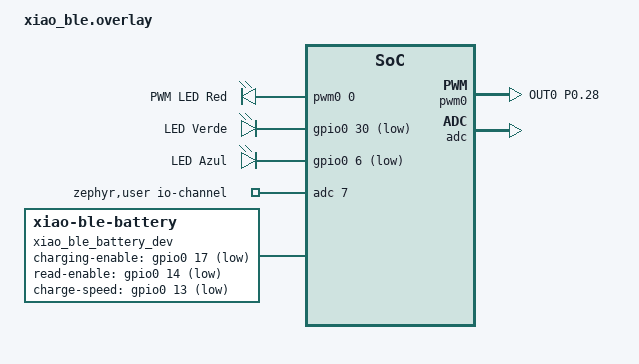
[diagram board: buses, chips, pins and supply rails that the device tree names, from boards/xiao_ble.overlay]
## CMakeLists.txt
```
#
# Copyright (c) 2018 Nordic Semiconductor
#
# SPDX-License-Identifier: LicenseRef-Nordic-5-Clause
#
cmake_minimum_required(VERSION 3.20.0)

find_package(Zephyr REQUIRED HINTS $ENV{ZEPHYR_BASE})
project(NONE)

# NORDIC SDK APP START
target_sources(app PRIVATE
  src/main.c
  src/hal/buzzer.c
  src/hal/battery.c
  src/hal/ble.c
  src/gatt/buzzer_service.c
  src/gatt/battery_service.c
  src/test/energy_test.c
)

zephyr_library_include_directories(
  include
  include/hal
  include/gatt
  include/test
)
# NORDIC SDK APP END
```

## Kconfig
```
#
# Copyright (c) 2025
# SPDX-License-Identifier: LicenseRef-Nordic-5-Clause
#

mainmenu "Amigo Perto Application Configuration"

config ENERGY_TEST
	bool "Enable Energy Consumption Test Module"
	default y
	help
	  Enable the energy consumption test module that measures
	  current draw using a shunt resistor and differential ADC.
	  This module can be removed after testing by setting this to 'n'.

source "Kconfig.zephyr"
```

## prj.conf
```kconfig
#
# Copyright (c) 2018 Nordic Semiconductor
#
# SPDX-License-Identifier: LicenseRef-Nordic-5-Clause
#

# Logger module
CONFIG_LOG=y

# Button and LED library
CONFIG_DK_LIBRARY=y

# Bluetooth LE
CONFIG_BT=y

CONFIG_BT_PERIPHERAL=y
CONFIG_BT_DEVICE_NAME="Amigo Perto"

# Increase stack size for the main thread and System Workqueue
CONFIG_SYSTEM_WORKQUEUE_STACK_SIZE=2048
CONFIG_MAIN_STACK_SIZE=2048

# GPIO (LEDs)
CONFIG_GPIO=y

# PWM Support
CONFIG_PWM=y

# ADC Support for battery monitoring
CONFIG_ADC=y
CONFIG_ADC_NRFX_SAADC=y

# Power Management for Low Energy (nRF52840)
CONFIG_PM=y
CONFIG_PM_DEVICE=y

# Tickless reduz wakeups do kernel em idle (mais relevante que ajustar ticks/seg no nRF)
CONFIG_TICKLESS_KERNEL=y

# Enable DCDC converter via devicetree (reduz consumo em ~40% no nRF52840)
# Note: CONFIG_SOC_DCDC_NRF52X is set automatically via devicetree overlay
# CONFIG_SOC_DCDC_NRF52X=y

# Reduce BLE TX power to 0 dBm (minimo consumo)
# Note: Use CONFIG_BT_CTLR_TX_PWR_MINUS_X for negative values if needed
# CONFIG_BT_CTLR_TX_PWR_0=y
```

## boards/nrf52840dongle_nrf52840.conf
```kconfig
# USB stack and CDC ACM settings
CONFIG_USB_DEVICE_STACK=y
CONFIG_USB_DEVICE_REMOTE_WAKEUP=n
CONFIG_USB_CDC_ACM=y
CONFIG_USB_DEVICE_MANUFACTURER="Nordic Semiconductor ASA"
CONFIG_USB_DEVICE_PRODUCT="nRF52840 Dongle"
CONFIG_USB_DEVICE_VID=0x1915
CONFIG_USB_DEVICE_PID=0x0001
CONFIG_USB_DEVICE_INITIALIZE_AT_BOOT=y
CONFIG_USB_DEVICE_LOG_LEVEL_OFF=y
CONFIG_USB_CDC_ACM_LOG_LEVEL_OFF=y
CONFIG_USB_CDC_ACM_RINGBUF_SIZE=2048

# Console settings
CONFIG_CONSOLE=y
CONFIG_SERIAL=y
CONFIG_UART_CONSOLE=y
CONFIG_UART_INTERRUPT_DRIVEN=y

# Logger settings
CONFIG_LOG=y
CONFIG_LOG_BACKEND_UART=y
CONFIG_LOG_MODE_DEFERRED=y

# ADC Configuration for battery monitoring
CONFIG_ADC=y
CONFIG_ADC_NRFX_SAADC=y
```

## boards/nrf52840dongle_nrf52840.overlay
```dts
/*
 * Copyright (c) 2021 Nordic Semiconductor ASA
 *
 * SPDX-License-Identifier: LicenseRef-Nordic-5-Clause
 */

/ {
	chosen {
		zephyr,console = &cdc_acm_uart0;
	};

	/* Configuração para leitura de bateria via ADC */
	zephyr,user {
		io-channels = <&adc 0>;
	};
};

&zephyr_udc0 {
	cdc_acm_uart0: cdc_acm_uart0 {
		compatible = "zephyr,cdc-acm-uart";
	};
};

/* Habilita ADC para leitura de bateria */
&adc {
	status = "okay";
	#address-cells = <1>;
	#size-cells = <0>;

	channel@0 {
		reg = <0>;
		zephyr,gain = "ADC_GAIN_1_6";
		zephyr,reference = "ADC_REF_INTERNAL";
		zephyr,acquisition-time = <ADC_ACQ_TIME(ADC_ACQ_TIME_MICROSECONDS, 10)>;
		zephyr,input-positive = <NRF_SAADC_VDD>;
		zephyr,resolution = <12>;
	};
};
```

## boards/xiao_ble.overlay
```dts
/*
 * Copyright (c) 2024 Nordic Semiconductor ASA
 *
 * SPDX-License-Identifier: Apache-2.0
 */

/ {
	aliases {
		pwm-led0 = &pwm_led0;
		ledverde = &led_verde;
		ledazul = &led_azul;
	};

	pwmleds {
		compatible = "pwm-leds";
		pwm_led0: pwm_led_0 {
			pwms = <&pwm0 0 PWM_MSEC(20) PWM_POLARITY_NORMAL>;
			label = "PWM LED Red";
		};
	};

	leds {
		compatible = "gpio-leds";
		led_verde: led_verde {
			gpios = <&gpio0 30 GPIO_ACTIVE_LOW>;
			label = "LED Verde";
		};
		led_azul: led_azul {
			gpios = <&gpio0 6 GPIO_ACTIVE_LOW>;
			label = "LED Azul";
		};
	};

	/* Configuração para leitura de bateria via ADC - Canal 7 (AIN7/P0.31) */
	zephyr,user {
		io-channels = <&adc 7>;
	};

	xiao_ble_battery_dev: xiao_ble_battery_dev {
		compatible = "xiao-ble-battery";
		charging-enable-gpios = <&gpio0 17 GPIO_ACTIVE_LOW>;
		read-enable-gpios = <&gpio0 14 GPIO_ACTIVE_LOW>;
		charge-speed-gpios = <&gpio0 13 GPIO_ACTIVE_LOW>;
		adc-channel = <NRF_SAADC_AIN7>;
	};
};

&pwm0 {
	status = "okay";
	pinctrl-0 = <&pwm0_default>;
	pinctrl-1 = <&pwm0_sleep>;
	pinctrl-names = "default", "sleep";
};

&pinctrl {
	pwm0_default: pwm0_default {
		group1 {
			psels = <NRF_PSEL(PWM_OUT0, 0, 28)>;
			//nordic,invert;
		};
	};

	pwm0_sleep: pwm0_sleep {
		group1 {
			psels = <NRF_PSEL(PWM_OUT0, 0, 28)>;
			low-power-enable;
		};
	};
};

/* Habilita ADC para leitura de bateria */
&adc {
	status = "okay";
};
```

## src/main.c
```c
/*
 * Amigo Perto - Sistema de Alerta de Proximidade
 * Copyright (c) 2025
 * SPDX-License-Identifier: LicenseRef-Nordic-5-Clause
 *
 * Aplicação principal do firmware que implementa um sistema de alerta de proximidade
 * controlado remotamente via Bluetooth Low Energy.
 *
 * Hardware:
 * - XIAO nRF52840 (Nordic nRF52840)
 * - Buzzer piezoelétrico (PWM)
 * - Bateria LiPo 1S (3.0V-4.2V)
 * - LED Verde (conexão BLE)
 * - LED Azul (advertising)
 *
 * Funcionalidades:
 * - BLE advertising para descoberta do dispositivo
 * - Serviço GATT Buzzer customizado para controle remoto do alarme
 * - Serviço GATT Battery padrão (0x180F) para monitoramento de bateria
 * - LEDs de status para feedback visual
 * - HAL modular para abstração de hardware
 *
 * Arquitetura:
 * - src/main.c         : Aplicação principal (este arquivo)
 * - src/hal/           : Hardware Abstraction Layer (BLE, Buzzer, Battery)
 * - src/gatt/          : Serviços GATT BLE
 * - include/hal/       : APIs públicas HAL
 * - include/gatt/      : APIs públicas GATT
 */

// === INCLUDES DO ZEPHYR RTOS ===
#include <zephyr/kernel.h>         // Kernel: threads, timers, delays
#include <zephyr/logging/log.h>    // Sistema de logging
#include <zephyr/drivers/gpio.h>   // Controle de GPIO para LEDs

// === HARDWARE ABSTRACTION LAYER ===
#include "hal/ble.h"        // HAL BLE: advertising, conexões
#include "hal/buzzer.h"     // HAL Buzzer: controle PWM do alarme
#include "hal/battery.h"    // Battery lib: init, amostragem, callbacks

// === SERVIÇOS GATT ===
#include "gatt/buzzer_service.h"   // Serviço GATT customizado do buzzer
#include "gatt/battery_service.h"  // Battery Service padrão (0x180F)

// Registra módulo de logging
LOG_MODULE_REGISTER(MainApp, LOG_LEVEL_INF);

// === CONFIGURAÇÕES ===

// Nome do dispositivo BLE (definido em prj.conf via CONFIG_BT_DEVICE_NAME)
#define DEVICE_NAME CONFIG_BT_DEVICE_NAME

// === CONFIGURAÇÕES DE ECONOMIA DE ENERGIA ===

// Duty-cycle dos LEDs: 50ms ON / 1950ms OFF = 2.5% (economiza ~97.5% de energia)
#define LED_BLINK_ON_MS   50
#define LED_BLINK_OFF_MS  1950

// Intervalo de advertising BLE em milissegundos
// 1000ms = bom balanço entre descoberta e economia de bateria
#define ADV_INTERVAL_MS 1000

// Threshold de bateria crítica (percentual)
// Abaixo deste valor, um warning é exibido
#define BATTERY_CRITICAL_THRESHOLD 10

// Intervalo de amostragem da bateria (ms)
#define BATTERY_SAMPLING_INTERVAL_MS 1000

// === CONFIGURAÇÃO DOS LEDS ===

// LED Verde: indica conexão BLE ativa
// Hardware: GPIO configurado via devicetree alias 'ledverde'
#define LED_VERDE_NODE DT_ALIAS(ledverde)
#if DT_NODE_HAS_STATUS(LED_VERDE_NODE, okay)
static const struct gpio_dt_spec led_verde = GPIO_DT_SPEC_GET(LED_VERDE_NODE, gpios);
#else
#error "LED verde não configurado no devicetree (alias 'ledverde' ausente)"
#endif

// LED Azul: indica advertising BLE ativo
// Hardware: GPIO configurado via devicetree alias 'ledazul'
#define LED_AZUL_NODE DT_ALIAS(ledazul)
#if DT_NODE_HAS_STATUS(LED_AZUL_NODE, okay)
static const struct gpio_dt_spec led_azul = GPIO_DT_SPEC_GET(LED_AZUL_NODE, gpios);
#else
#error "LED azul não configurado no devicetree (alias 'ledazul' ausente)"
#endif

// === TIMERS PARA PISCAR LEDS COM BAIXO CONSUMO ===
static struct k_timer led_azul_timer;
static struct k_timer led_verde_timer;
static bool led_azul_ativo = false;
static bool led_verde_ativo = false;

/**
 * Handler do timer do LED azul (advertising)
 * Alterna estado ON/OFF com duty-cycle de 2.5%
 */
static void led_azul_timer_handler(struct k_timer *timer)
{
	// Alterna estado
	led_azul_ativo = !led_azul_ativo;
	gpio_pin_set_dt(&led_azul, led_azul_ativo ? 1 : 0);
	
	// Próximo timeout: curto se aceso, longo se apagado
	k_timer_start(&led_azul_timer, 
	              K_MSEC(led_azul_ativo ? LED_BLINK_ON_MS : LED_BLINK_OFF_MS), 
	              K_NO_WAIT);
}

/**
 * Handler do timer do LED verde (conectado)
 * Alterna estado ON/OFF com duty-cycle de 2.5%
 */
static void led_verde_timer_handler(struct k_timer *timer)
{
	// Alterna estado
	led_verde_ativo = !led_verde_ativo;
	gpio_pin_set_dt(&led_verde, led_verde_ativo ? 1 : 0);
	
	// Próximo timeout: curto se aceso, longo se apagado
	k_timer_start(&led_verde_timer, 
	              K_MSEC(led_verde_ativo ? LED_BLINK_ON_MS : LED_BLINK_OFF_MS), 
	              K_NO_WAIT);
}

// === CALLBACKS BLE ===
// Funções chamadas pelo HAL BLE para notificar eventos de conexão

/**
 * Callback: Dispositivo conectado via BLE
 *
 * Chamado quando um dispositivo central (ex: smartphone) estabelece conexão.
 * Atualiza LEDs de status e exibe parâmetros de conexão negociados.
 *
 * @param conn_info Informações da conexão (intervalo, latência, timeout)
 */
static void on_ble_connected(const hal_ble_conn_info_t *conn_info)
{
	LOG_INF("=== BLE CONECTADO ===");
	LOG_INF("Intervalo: %u ms", conn_info->interval_ms);
	LOG_INF("Latência: %u conexões", conn_info->latency);
	LOG_INF("Timeout: %u ms", conn_info->timeout_ms);
	
	// Para timer do LED azul e apaga
	k_timer_stop(&led_azul_timer);
	gpio_pin_set_dt(&led_azul, 0);
	led_azul_ativo = false;
	
	// Inicia timer do LED verde (piscar lento)
	led_verde_ativo = false;
	k_timer_start(&led_verde_timer, K_MSEC(LED_BLINK_OFF_MS), K_NO_WAIT);
}

/**
 * Callback: Dispositivo desconectado
 *
 * Chamado quando a conexão BLE é encerrada (timeout, comando remoto, etc).
 * Desliga o buzzer (segurança) e atualiza status dos LEDs.
 *
 * @param reason Código HCI do motivo da desconexão
 */
static void on_ble_disconnected(uint8_t reason)
{
	LOG_INF("=== BLE DESCONECTADO ===");
	LOG_INF("Motivo: 0x%02X", reason);
	
	// Segurança: desliga buzzer ao desconectar
	hal_buzzer_set_intermittent(false, 0);
	
	// Para timer do LED verde e apaga
	k_timer_stop(&led_verde_timer);
	gpio_pin_set_dt(&led_verde, 0);
	led_verde_ativo = false;
	
	// Reinicia timer do LED azul (piscar lento)
	led_azul_ativo = false;
	k_timer_start(&led_azul_timer, K_MSEC(LED_BLINK_OFF_MS), K_NO_WAIT);
}

/**
 * Callback: Advertising iniciado
 *
 * Chamado quando o dispositivo começa a anunciar sua presença.
 * Dispositivos BLE podem descobrir e conectar neste estado.
 */
static void on_ble_adv_started(void)
{
	LOG_INF("BLE Advertising iniciado (modo baixo consumo)");
	
	// Inicia timer do LED azul (piscar lento)
	led_azul_ativo = false;
	k_timer_start(&led_azul_timer, K_MSEC(LED_BLINK_OFF_MS), K_NO_WAIT);
}

/**
 * Callback: Advertising parado
 *
 * Chamado quando advertising é interrompido (conexão estabelecida ou erro).
 */
static void on_ble_adv_stopped(void)
{
	LOG_DBG("BLE Advertising parado");
	
	// Para timer do LED azul e apaga
	k_timer_stop(&led_azul_timer);
	gpio_pin_set_dt(&led_azul, 0);
	led_azul_ativo = false;
}

// Registra callbacks BLE no HAL
static const hal_ble_callbacks_t ble_callbacks = {
	.connected = on_ble_connected,
	.disconnected = on_ble_disconnected,
	.adv_started = on_ble_adv_started,
	.adv_stopped = on_ble_adv_stopped,
};

// === CALLBACKS GATT BUZZER SERVICE ===
// Funções chamadas quando características GATT são escritas remotamente

/**
 * Callback: Característica Buzzer Intermitente escrita via BLE
 *
 * Chamado quando o dispositivo central (smartphone) escreve na característica
 * Buzzer Intermittent do serviço GATT customizado.
 *
 * Controla o modo intermitente do alarme com intensidade média.
 *
 * @param buzzer_state true=ativar alarme intermitente, false=desligar
 */
static void on_buzzer_intermittent_write(const bool buzzer_state)
{
	LOG_INF("=== COMANDO BUZZER ===");
	LOG_INF("Estado: %s", buzzer_state ? "ATIVADO" : "DESATIVADO");
	
	// Controla o buzzer através do HAL com intensidade média (30%, otimizado para baixo consumo)
	// Frequência: 18 kHz (audível para cachorros, quase inaudível para humanos)
	// Padrão burst: 20ms ON / 80ms OFF (reduz consumo em ~75%)
	int err = hal_buzzer_set_intermittent(buzzer_state, HAL_BUZZER_INTENSITY_MEDIUM);
	if (err != HAL_BUZZER_SUCCESS) 
	{
		LOG_ERR("Erro ao controlar buzzer: %d", err);
	}
}

// Registra callbacks Buzzer Service
static const struct gatt_buzzer_service_cb buzzer_callbacks = {
	.buzzer_intermittent_cb = on_buzzer_intermittent_write,
};

// === CALLBACKS GATT BATTERY SERVICE ===
// O serviço GATT de bateria lê os valores on-demand via battery_get_millivolt().
// Aqui registramos callbacks da *biblioteca* de bateria só para logging/debug.

static void log_battery_voltage(uint16_t millivolt)
{
	uint8_t battery_percentage = 0;

	int ret = battery_get_percentage(&battery_percentage, millivolt);
	if (ret)
	{
		LOG_ERR("Falha ao calcular percentual de bateria (%d)", ret);
		return;
	}

	LOG_INF("Battery: %u mV (%u%%)", millivolt, battery_percentage);
	if (battery_percentage < BATTERY_CRITICAL_THRESHOLD)
	{
		LOG_WRN("ATENÇÃO: Bateria crítica! (%u%%) - Recarregue em breve", battery_percentage);
	}
}

static void log_charging_state(bool is_charging)
{
	LOG_INF("Charger %s", is_charging ? "connected" : "disconnected");
}

// === FUNÇÃO PRINCIPAL ===

/**
 * Função principal do firmware
 *
 * Sequência de inicialização:
 * 1. LEDs de status (verde e azul)
 * 2. HAL Buzzer (controle PWM do alarme)
 * 3. HAL Battery (leitura ADC da bateria LiPo)
 * 4. HAL BLE (stack Bluetooth)
 * 5. Serviços GATT (Buzzer e Battery)
 * 6. Inicia advertising BLE
 * 7. Loop infinito aguardando eventos via callbacks
 *
 * @return 0 em caso de sucesso, -1 em caso de erro
 */
int main(void)
{
	int err;
	bool battery_ok = false;

	LOG_INF("=============================================");
	LOG_INF("   Amigo Perto - Alerta de Proximidade");
	LOG_INF("   Modo: Ultra Baixo Consumo");
	LOG_INF("=============================================");
	LOG_INF("");

	// === ETAPA 1: Inicialização dos LEDs ===
	
	LOG_INF("[1/6] Inicializando LEDs (modo economia)...");
	
	// Verifica se GPIOs estão prontos
	if (!gpio_is_ready_dt(&led_verde)) 
	{
		LOG_ERR("GPIO LED verde não está pronto");
		return -1;
	}
	
	if (!gpio_is_ready_dt(&led_azul)) 
	{
		LOG_ERR("GPIO LED azul não está pronto");
		return -1;
	}

	// Configura LEDs como saída, inicialmente desligados
	err = gpio_pin_configure_dt(&led_verde, GPIO_OUTPUT_INACTIVE);
	if (err) 
	{
		LOG_ERR("Erro ao configurar LED verde: %d", err);
		return -1;
	}
	
	err = gpio_pin_configure_dt(&led_azul, GPIO_OUTPUT_INACTIVE);
	if (err) 
	{
		LOG_ERR("Erro ao configurar LED azul: %d", err);
		return -1;
	}

	// Inicializa timers dos LEDs
	k_timer_init(&led_azul_timer, led_azul_timer_handler, NULL);
	k_timer_init(&led_verde_timer, led_verde_timer_handler, NULL);

	LOG_INF("LEDs configurados (duty-cycle: 2.5%%)");
	LOG_INF("");

	// === ETAPA 2: Inicialização do Buzzer ===
	
	LOG_INF("[2/6] Inicializando HAL Buzzer...");
	
	err = hal_buzzer_init();
	if (err != HAL_BUZZER_SUCCESS) 
	{
		LOG_ERR("Erro ao inicializar HAL Buzzer: %d", err);
		return -1;
	}

	LOG_INF("HAL Buzzer inicializado");
	LOG_INF("");
	
	// === ETAPA 3: Inicialização do BLE ===
	
	LOG_INF("[3/6] Inicializando HAL BLE...");
	
	err = hal_ble_init(DEVICE_NAME, &ble_callbacks);
	if (err != HAL_BLE_SUCCESS) 
	{
		LOG_ERR("Erro ao inicializar HAL BLE: %d", err);
		return -1;
	}

	LOG_INF("HAL BLE inicializado - Device: %s", DEVICE_NAME);
	LOG_INF("");
	
	// === ETAPA 4: Inicialização dos Serviços GATT ===
	
	LOG_INF("[4/6] Inicializando serviços GATT...");
	
	// Serviço customizado: Buzzer Service
	err = gatt_buzzer_service_init(&buzzer_callbacks);
	if (err != 0) 
	{
		LOG_ERR("Erro ao inicializar GATT Buzzer Service: %d", err);
		return -1;
	}
	LOG_INF("  - Buzzer Service (customizado)");
	
	// Serviço padrão: Battery Service (UUID 0x180F)
	err = battery_service_init();
	if (err != 0)
	{
		// Best-effort: BLE deve continuar mesmo que a bateria/ADC não esteja pronto
		LOG_WRN("Battery Service init retornou erro (%d). BLE seguirá ativo", err);
	}
	LOG_INF("  - Battery Service (0x180F)");
	
	LOG_INF("Serviços GATT inicializados");
	LOG_INF("");
	
	// === ETAPA 5: Inicia Advertising BLE ===
	
	LOG_INF("[5/6] Iniciando BLE Advertising...");
	
	// Configura parâmetros de advertising otimizados
	hal_ble_adv_params_t adv_params = {
		.interval_min_ms = ADV_INTERVAL_MS,   // 1000ms (economiza bateria)
		.interval_max_ms = ADV_INTERVAL_MS,   // Intervalo fixo
		.connectable = true,                  // Aceita conexões
		.use_identity = true,                 // Usa MAC fixo (rastreável)
	};
	
	err = hal_ble_start_advertising(&adv_params);
	if (err != HAL_BLE_SUCCESS) 
	{
		LOG_ERR("Erro ao iniciar advertising: %d", err);
		return -1;
	}
	
	LOG_INF("Advertising iniciado - Intervalo: %d ms (economia de energia)", ADV_INTERVAL_MS);
	LOG_INF("");

	// === ETAPA 6: Inicialização da Bateria (best-effort) ===
	// Igual ao exemplo: mantém BLE/advertising ativo mesmo se a bateria falhar.

	LOG_INF("[6/6] Inicializando Battery library...");
	err = battery_init();
	if (err)
	{
		LOG_WRN("Battery init falhou (%d). BLE seguirá ativo com valores=0", err);
		battery_ok = false;
	}
	else
	{
		battery_ok = true;
	}

	if (battery_ok)
	{
		int ret = battery_register_charging_callback(log_charging_state);
		if (ret)
		{
			LOG_WRN("Falha ao registrar charging callback (%d)", ret);
		}

		ret = battery_register_sample_callback(log_battery_voltage);
		if (ret)
		{
			LOG_WRN("Falha ao registrar sample callback (%d)", ret);
		}

		// Amostra inicial (1x) + amostragem periódica
		ret = battery_sample_once();
		if (ret)
		{
			LOG_WRN("Falha ao amostrar bateria uma vez (%d)", ret);
		}
		k_sleep(K_SECONDS(3));

		ret = battery_start_sampling(BATTERY_SAMPLING_INTERVAL_MS);
		if (ret)
		{
			LOG_WRN("Falha ao iniciar amostragem periódica (%d)", ret);
		}
	}
	
	// === SISTEMA PRONTO ===
	
	LOG_INF("=============================================");
	LOG_INF("   SISTEMA INICIALIZADO - MODO ECO");
	LOG_INF("=============================================");
	LOG_INF("");
	LOG_INF("Configurações de Economia:");
	LOG_INF("  - Advertising: 1000ms (baixo consumo)");
	LOG_INF("  - LEDs: duty-cycle 2.5%% (97.5%% economia)");
	LOG_INF("  - Deep sleep: habilitado quando ocioso");
	LOG_INF("");
	LOG_INF("Status:");
	LOG_INF("  - BLE Advertising: ATIVO");
	LOG_INF("  - Aguardando conexão...");
	LOG_INF("");
	LOG_INF("Serviços BLE disponíveis:");
	LOG_INF("  - Buzzer Service (customizado)");
	LOG_INF("      Intermittent: write 0x01=ON, 0x00=OFF");
	LOG_INF("  - Battery Service (0x180F)");
	LOG_INF("      Battery Level (0x2A19): read 0-100%%");
	LOG_INF("      Battery Voltage (customizado): read milivolts");
	LOG_INF("");
	LOG_INF("LEDs (piscantes):");
	LOG_INF("  - Azul: Advertising ativo");
	LOG_INF("  - Verde: Conectado");
	LOG_INF("=============================================");
	
	// Loop infinito - sistema controlado por eventos via callbacks
	while (1)
	{
		k_sleep(K_SECONDS(60));
		// Se precisar parar a amostragem em algum momento:
		// (void)battery_stop_sampling();
	}
	
	return 0;
}
```
